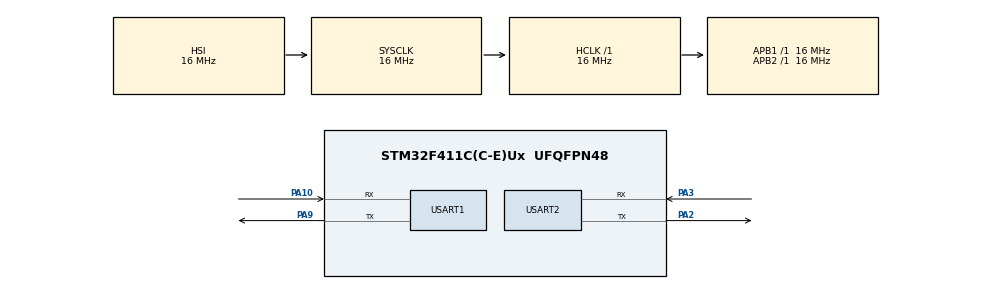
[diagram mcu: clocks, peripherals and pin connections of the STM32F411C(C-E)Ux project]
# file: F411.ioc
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Mcu.Family=STM32F4
Mcu.Name=STM32F411C(C-E)Ux
Mcu.Package=UFQFPN48
NVIC.PriorityGroup=NVIC_PRIORITYGROUP_4
NVIC.USART1_IRQn=true\:0\:0\:false\:false\:true\:true\:true\:true
NVIC.USART2_IRQn=true\:0\:0\:false\:false\:true\:true\:true\:true
PA10.Mode=Asynchronous
PA10.Signal=USART1_RX
PA13.Mode=Serial_Wire
PA13.Signal=SYS_JTMS-SWDIO
PA14.Mode=Serial_Wire
PA14.Signal=SYS_JTCK-SWCLK
PA2.Mode=Asynchronous
PA2.Signal=USART2_TX
PA3.Mode=Asynchronous
PA3.Signal=USART2_RX
PA9.Mode=Asynchronous
PA9.Signal=USART1_TX
ProjectManager.HeapSize=0x200
ProjectManager.StackSize=0x400
ProjectManager.TargetToolchain=STM32CubeIDE
RCC.AHBFreq_Value=16000000
RCC.APB1Freq_Value=16000000
RCC.APB2Freq_Value=16000000
RCC.CortexFreq_Value=16000000
RCC.HSE_VALUE=25000000
RCC.HSI_VALUE=16000000
RCC.LSE_VALUE=32768
RCC.SYSCLKFreq_VALUE=16000000
RCC.VCOOutputFreq_Value=192000000
USART1.VirtualMode=VM_ASYNC
USART2.VirtualMode=VM_ASYNC
board=custom

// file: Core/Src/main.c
/* USER CODE BEGIN Header */
/**
 ******************************************************************************
 * @file           : main.c
 * @brief          : Main program body
 ******************************************************************************
 * @attention
 *
 * Copyright (c) 2023 STMicroelectronics.
 * All rights reserved.
 *
 * This software is licensed under terms that can be found in the LICENSE file
 * in the root directory of this software component.
 * If no LICENSE file comes with this software, it is provided AS-IS.
 *
 ******************************************************************************
 */
/* USER CODE END Header */
#include "main.h"

/* USER CODE BEGIN Includes */
#include "FLASH_SECTOR_F4.h"
#include "ESP8266_HAL.h"
#include "UartRingbuffer_multi.h"
#include "parse.h"
#include <string.h>
#include <stdio.h>
#include <boot.h>
#include <stdlib.h>
/* USER CODE END Includes */

/* USER CODE BEGIN PTD */
typedef enum {
	START_CODE = 0,
	BYTE_COUNT = 1,
	ADDRESS = 2,
	RECORD_TYPE = 3,
	DATA = 4,
	CHECKSUM = 5,
	DONE = 6
} FieldHexFile;

typedef enum {
	READ_SUCCESFULLY = 0, READ_FAILED = 1
} StatusReadHexFile;

typedef struct {
	uint8_t u8ByteCount;
	uint8_t u8Addr[4];
	uint8_t u8RecordType[2];
	uint8_t u8Data[32];
	uint8_t u8Checksum[2];
} HexFormData;

HexFormData hexStruct;
/* USER CODE END PTD */

/* USER CODE BEGIN PD */
#define SSID "Nguyen"
#define PASSWORD "0935935516"
#define pc_uart &huart2
#define wifi_uart &huart1
//
#define SECTOR_0 0x08000000
#define SECTOR_1 0x08004000
#define SECTOR_2 0x08008000
#define SECTOR_3 0x0800C000
#define SECTOR_4 0x08010000
#define SECTOR_5 0x08020000
#define SECTOR_6 0x08040000
#define SECTOR_7 0x08060000

/* USER CODE END PD */

UART_HandleTypeDef huart1;
UART_HandleTypeDef huart2;

/* USER CODE BEGIN PV */

uint16_t line = 0;
uint8_t CinternalBuff[50];
uint8_t recv_buf[30000] = { 0 };
uint8_t firmware_buf[65];
uint8_t lat_ver[128] = { 0 };
int lat_ver0;
int lat_ver2;
uint8_t version_buf[30] = { 0 };
int CountFirmwareSlot = 1;
int TriggerBase = 1;
int BL_Version[2] = { 0, 0 }; //MAJOR and MINOR 0.0
uint32_t current_sector;
uint32_t *FirmwareSlot = (uint32_t*) 0x0800C000;
uint32_t *FWSelect = (uint32_t*) 0x08010000;
int VarCountCompare = 0;
uint32_t *BLversion0 = (uint32_t*) 0x08008000;
uint32_t *BLversion1 = (uint32_t*) 0x08008010;
uint8_t tempfordata[32];
uint8_t ToggleForErrorString = 0;
int nonZeroCount;
/* USER CODE END PV */

void SystemClock_Config(void);
static void MX_GPIO_Init(void);
static void MX_USART1_UART_Init(void);
static void MX_USART2_UART_Init(void);
/* USER CODE BEGIN PFP */
int countCharacters(uint32_t *str) {
	int count = 0;
	while (str[count] != '\0') {
		count++;
	}
	return count;
}
void removeAndShift(char *str, char *substr) {
	char *found = strstr(str, substr);
	if (found == NULL) {
		return;
	}

	// Calculate the length of the substring
	size_t subLen = strlen(substr);

	// Remove the substring by shifting the rest of the string
	memmove(found, found + subLen, strlen(found + subLen) + 1);

	// Remove any trailing spaces or characters after the substring
	size_t startIndex = found - str + subLen;
	while (str[startIndex] == ' ' || str[startIndex] == '\0') {
		memmove(str + startIndex, str + startIndex + 1,
				strlen(str + startIndex));
	}
}

uint32_t convert_uint8_to_int(uint8_t *data) {
	char str[9] = { '\0' };
	if (data[0] == '0' && (data[1] == 'x' || data[1] == 'X')) {
		data += 2;
	}
	for (int i = 0; i < 8; i++) {
		str[i] = data[i];
	}
	uint32_t result = strtoul(str, NULL, 16);
	return result;
}
int hexCharToInt(char hexChar) {
	int result;
	if (hexChar >= '0' && hexChar <= '9') {
		result = hexChar - '0';
	} else if (hexChar >= 'A' && hexChar <= 'F') {
		result = hexChar - 'A' + 10;
	} else if (hexChar >= 'a' && hexChar <= 'f') {
		result = hexChar - 'a' + 10;
	} else {
		result = -1;
	}
	return result;
}
int hexPairToInt(char hex1, char hex2) {
	int result1, result2;
	// Chuyển đổi ký tự hex1 thành giá trị int
	if (hex1 >= '0' && hex1 <= '9') {
		result1 = hex1 - '0';
	} else if (hex1 >= 'A' && hex1 <= 'F') {
		result1 = hex1 - 'A' + 10;
	} else if (hex1 >= 'a' && hex1 <= 'f') {
		result1 = hex1 - 'a' + 10;
	} else {
		// Xử lý ký tự không hợp lệ
		return -1;
	}
	// Chuyển đổi ký tự hex2 thành giá trị int
	if (hex2 >= '0' && hex2 <= '9') {
		result2 = hex2 - '0';
	} else if (hex2 >= 'A' && hex2 <= 'F') {
		result2 = hex2 - 'A' + 10;
	} else if (hex2 >= 'a' && hex2 <= 'f') {
		result2 = hex2 - 'a' + 10;
	} else {
		return -1;
	}
	return result1 * 16 + result2;
}
void print_pc(const char *str) {
	Uart_sendstring(str, &huart2);
}
void print_pc_version() {
	sprintf(version_buf, "%d.%d\n", BL_Version[0], BL_Version[1]);
	print_pc(version_buf);
}
int count_string(char *string, char search) {
	int count = 0;
	while (*string != search) {
		count++;
		string++;
	}
	return count;
}
int count_string2(char *string, char search) {
	static int countForChar2 = 0;
	while (*string != search) {
		countForChar2++;
		string++;
	}
	countForChar2++;
	return countForChar2;
}
int count_string3(char *string, char search) {
	static int countForChar3 = 0;
	while (*string != search) {
		AGAIN: countForChar3++;
		string++;
	}
	if (*(string + 1) == '+') {
		ToggleForErrorString = 1;
		goto AGAIN;
	}
	countForChar3++;
	return countForChar3;
}
int count_where_error(char *string) {
	int countPositionOfError = 0;
	while (*string != '+') {
		countPositionOfError++;
		string++;
	}
	countPositionOfError++;
	return countPositionOfError;
}
int count_string4(char *string, char search) {
	int countForChar4 = 0;
	while (*string != search) {
		AGAIN: countForChar4++;
		string++;
	}
	if (*(string + 1) == '+') {
		ToggleForErrorString = 1;
		goto AGAIN;
	}
	countForChar4++;
	return countForChar4;
}
StatusReadHexFile ReadAllLine(char *pBufferData) {
	uint8_t u16CaculChecksum;
	FieldHexFile State;
	int u32Count = 0u;
	int u32DataCount = 0u;
	int addressInt1 = 0;
	int addressInt2 = 0;
	int test1 = 0;
	int test2 = 0;
	uint16_t test3 = 0;
	for (u32DataCount = 0; u32DataCount < strlen(hexStruct.u8Data);
			u32DataCount++) {
		hexStruct.u8Data[u32DataCount] = '\0';
	}
	State = START_CODE;
	for (u32Count = 0; u32Count < strlen(pBufferData); u32Count++) {
		switch (State) {
		case START_CODE: {
			if (pBufferData[u32Count] != ':') {
				return READ_FAILED;
			} else {
				State = BYTE_COUNT;
			}
			break;
		}
		case BYTE_COUNT: {
			test1 = hexPairToInt(pBufferData[1], pBufferData[2]);
			hexStruct.u8ByteCount = test1;
			u32Count = 2u;
			State = ADDRESS;
			break;
		}
		case ADDRESS: {
			hexStruct.u8Addr[0] = pBufferData[3];
			hexStruct.u8Addr[1] = pBufferData[4];
			hexStruct.u8Addr[2] = pBufferData[5];
			hexStruct.u8Addr[3] = pBufferData[6];
			addressInt1 = hexPairToInt(hexStruct.u8Addr[0],
					hexStruct.u8Addr[1]);
			addressInt2 = hexPairToInt(hexStruct.u8Addr[2],
					hexStruct.u8Addr[3]);
			u32Count = 6u;
			State = RECORD_TYPE;
			break;
		}
		case RECORD_TYPE: {
			hexStruct.u8RecordType[0] = pBufferData[7];
			hexStruct.u8RecordType[1] = pBufferData[8];
			test2 = hexPairToInt(hexStruct.u8RecordType[0],
					hexStruct.u8RecordType[1]);
			if (test2 == 1) {
				return READ_FAILED;
			}
			u32Count = 8u;
			State = DATA;
			break;
		}
		case DATA: {
			for (int i = 9; i < (hexStruct.u8ByteCount) * 2 + 9; i++) {
				hexStruct.u8Data[i - 9] = pBufferData[i];
				if (test2 == 0) {
				}
			}
			u32Count = 8u + (hexStruct.u8ByteCount) * 2;
			State = CHECKSUM;
			break;
		}
		case CHECKSUM: {
			hexStruct.u8Checksum[0] =
					pBufferData[9 + hexStruct.u8ByteCount * 2];
			hexStruct.u8Checksum[1] =
					pBufferData[10 + hexStruct.u8ByteCount * 2];
			test3 = hexPairToInt(hexStruct.u8Checksum[0],
					hexStruct.u8Checksum[1]);
			State = DONE;
			break;
		}
		case DONE: {   //printf ("byte count : %d\n", test1);
					   //printf ("address:%02d-%02d\n ", addressInt1, addressInt2);
					   //printf ("record type : %d", test2);
			u16CaculChecksum = test1 + addressInt1 + addressInt2 + test2;
			for (u32DataCount = 0; u32DataCount < hexStruct.u8ByteCount * 2;
					u32DataCount += 2) {
				u16CaculChecksum = u16CaculChecksum
						+ hexPairToInt(hexStruct.u8Data[u32DataCount],
								hexStruct.u8Data[u32DataCount + 1]);
			}
			u16CaculChecksum = ~u16CaculChecksum + 1;
			if (u16CaculChecksum == test3) {
				return READ_SUCCESFULLY;
			} else {
				return READ_FAILED;
			}
			break;
		}
		default: {
			return READ_FAILED;
			break;
		}
		}
	}
	return READ_SUCCESFULLY;
}
void CopyandFlash(char *arrayCopy, char *arrayTransfered, uint32_t address) {
	int test3 = 0;
	int test4 = 0;
	int i = 0;
	int indexTest = 0;
	int indexNumber = 0;
	int toggle = 0;
	int indexOld = count_string2(arrayCopy + indexTest, '\n');
	uint32_t addRess = address;
	Flash_Erase(addRess);
	while (1) {
		if (test4 == 1) {
			indexNumber = indexNumber - test3;
			line--;
			test4 = 0;
		}
		indexNumber = count_string3(arrayCopy + indexTest, '\n');
		if (toggle == 0) {
			toggle++;
		} else {
			indexOld = indexNumber - indexTest;
		}
		for (int j = 0; j < indexOld; j++) {
			arrayTransfered[j] = arrayCopy[i++];
		}
		indexTest = indexNumber;
		test3 = 0;
		line++;

		if (ToggleForErrorString == 1) {
			char errorBuff[30] = { 0 };
			int test = 0;
			int test1 = 0;
			for (test = count_where_error(arrayTransfered) - 3;
					test < count_string4(arrayTransfered, '\n'); test++) {
				errorBuff[test1] = arrayTransfered[test];
				if (errorBuff[test1] == ':') { // 58 equal :
					ToggleForErrorString = 0;
					test3 = test1;
					removeAndShift(arrayTransfered, errorBuff);
					test4 = 1;
					goto BEGIN;
				}
				test1++;
			}

			//xuliloi
		}
		BEGIN: if (ReadAllLine(arrayTransfered) != READ_SUCCESFULLY) {
			break;
		} else {
			tempfordata[0] = hexStruct.u8Data[6];
			tempfordata[1] = hexStruct.u8Data[7];
			tempfordata[2] = hexStruct.u8Data[4];
			tempfordata[3] = hexStruct.u8Data[5];
			tempfordata[4] = hexStruct.u8Data[2];
			tempfordata[5] = hexStruct.u8Data[3];
			tempfordata[6] = hexStruct.u8Data[0];
			tempfordata[7] = hexStruct.u8Data[1];
			tempfordata[8] = hexStruct.u8Data[14];
			tempfordata[9] = hexStruct.u8Data[15];
			tempfordata[10] = hexStruct.u8Data[12];
			tempfordata[11] = hexStruct.u8Data[13];
			tempfordata[12] = hexStruct.u8Data[10];
			tempfordata[13] = hexStruct.u8Data[11];
			tempfordata[14] = hexStruct.u8Data[8];
			tempfordata[15] = hexStruct.u8Data[9];
			tempfordata[16] = hexStruct.u8Data[22];
			tempfordata[17] = hexStruct.u8Data[23];
			tempfordata[18] = hexStruct.u8Data[20];
			tempfordata[19] = hexStruct.u8Data[21];
			tempfordata[20] = hexStruct.u8Data[18];
			tempfordata[21] = hexStruct.u8Data[19];
			tempfordata[22] = hexStruct.u8Data[16];
			tempfordata[23] = hexStruct.u8Data[17];
			tempfordata[24] = hexStruct.u8Data[30];
			tempfordata[25] = hexStruct.u8Data[31];
			tempfordata[26] = hexStruct.u8Data[28];
			tempfordata[27] = hexStruct.u8Data[29];
			tempfordata[28] = hexStruct.u8Data[26];
			tempfordata[29] = hexStruct.u8Data[27];
			tempfordata[30] = hexStruct.u8Data[24];
			tempfordata[31] = hexStruct.u8Data[25];
			uint16_t test2 = hexPairToInt(hexStruct.u8RecordType[0],
					hexStruct.u8RecordType[1]);
			if (test2 != 0) {

			} else {
				if (hexStruct.u8ByteCount == 0x10) {
					for (int i = 0; i < 32; i = i + 8) {
						uint32_t result = convert_uint8_to_int(tempfordata + i);
						Flash_Write_Data_Int(addRess, result);
						addRess += 4;
					}
				} else if (hexStruct.u8ByteCount == 0x8) {
					for (int i = 0; i < 16; i = i + 8) {
						uint32_t result = convert_uint8_to_int(tempfordata + i);
						Flash_Write_Data_Int(addRess, result);
						addRess += 4;
					}
				} else if (hexStruct.u8ByteCount == 0xC) {
					for (int i = 0; i < 24; i = i + 8) {
						uint32_t result = convert_uint8_to_int(tempfordata + i);
						Flash_Write_Data_Int(addRess, result);
						addRess += 4;
					}

				} else if (hexStruct.u8ByteCount == 0x4) {
					for (int i = 0; i < 8; i = i + 8) {
						uint32_t result = convert_uint8_to_int(tempfordata + i);
						Flash_Write_Data_Int(addRess, result);
						addRess += 4;
					}
				}
			}
		}

		memset(arrayTransfered, '\0', strlen(arrayTransfered));
	}
}
void parse_character_strings() {
	int number_of_major = count_string(recv_buf, '.');
	int number_of_minor = count_string(&recv_buf[number_of_major + 1], 'C');
	char temp1[10];
	for (int i = 0; i < number_of_major; i++) {
		temp1[i] = recv_buf[i];
	}
	temp1[number_of_major] = '\0';
	char temp2[10];
	for (int i = 0; i < number_of_minor; i++) {
		temp2[i] = recv_buf[i + number_of_major + 1];
	}
	temp2[number_of_minor] = '\0';
	lat_ver0 = atoi(temp1);
	lat_ver2 = atoi(temp2);
}
void compare_version() {
	if (read_data(0x08008000) > 100 && read_data(0x08008010) > 100) {
		Flash_Erase(SECTOR_2);
		Flash_Write_Data_Int(0x08008000, 0);
		Flash_Write_Data_Int(0x08008010, 0);
	}
	BL_Version[0] = read_data(0x08008000);
	BL_Version[1] = read_data(0x08008010);
	parse_character_strings();
	if (lat_ver0 > BL_Version[0]) {
		BL_Version[0] = lat_ver0;
		Flash_Erase(SECTOR_2);
		Flash_Write_Data_Int(0x08008010, BL_Version[1]);
		Flash_Write_Data_Int(0x08008000, BL_Version[0]);
		VarCountCompare++;
	}
	if (lat_ver2 > BL_Version[1]) {
		BL_Version[1] = lat_ver2;
		Flash_Erase(SECTOR_2);
		Flash_Write_Data_Int(0x08008000, BL_Version[0]);
		Flash_Write_Data_Int(0x08008010, BL_Version[1]);
		VarCountCompare++;
	}
	if (VarCountCompare > 0) {
		HAL_Delay(1000);
		print_pc("Got higher version\n");
		print_pc("Version:");
		print_pc_version();
		CountFirmwareSlot++;
	}
	if (VarCountCompare == 0) {
		HAL_Delay(1000);
		print_pc("Version on the server is not higher\n");
		print_pc("Returning to application program...");
		TriggerBase++;
	}
}
//
void ESP_Get_Firmware(uint8_t *buffer) {
	char local_buf[200] = { 0 };
	char local_buf2[30] = { 0 };
	Uart_flush(wifi_uart);
	Uart_sendstring(
			"AT+CIPSTART=\"TCP\",\"nguyenwebstm32.000webhostapp.com\",80\r\n",
			wifi_uart);
	while (!(Wait_for("OK\r\n", wifi_uart)))
		;
	bufclr(local_buf); // Make sure it cleared
	sprintf(local_buf, "GET /uploads/1.0.hex HTTP/1.1\r\n"
			"Host: nguyenwebstm32.000webhostapp.com\r\n"
			"Connection: close\r\n\r\n");
	int len = strlen(local_buf);
	bufclr(local_buf2);
	sprintf(local_buf2, "AT+CIPSEND=%d\r\n", len);
	Uart_sendstring(local_buf2, wifi_uart);
	while (!(Wait_for(">", wifi_uart)))
		;
	Uart_sendstring(local_buf, wifi_uart);
	while (!(Wait_for("SEND OK\r\n", wifi_uart))) {
	}
	while (!(Wait_for("\r\n\r\n", wifi_uart))) {
	}
	while (!(Copy_upto_closed("CLOSED\r\n", buffer, wifi_uart))) {
	}
}

/* USER CODE END PFP */

int main(void) {

	/* MCU Configuration--------------------------------------------------------*/

	/* Reset of all peripherals, Initializes the Flash interface and the Systick. */
	HAL_Init();

	/* Configure the system clock */
	SystemClock_Config();

	/* Initialize all configured peripherals */
	MX_GPIO_Init();
	MX_USART1_UART_Init();
	MX_USART2_UART_Init();
	/* USER CODE BEGIN 2 */
	Ringbuf_init();
	print_pc("\r\nBootloader initiated\r\n");
	ESP_Init(SSID, PASSWORD);
	print_pc("Connected to wifi\r\n");
	//get version
	memset(recv_buf, 0, sizeof(recv_buf));
	ESP_Get_Latest_Version((uint8_t*) recv_buf);
	print_pc("Got latest file name\r\n");
	compare_version();
	memset(recv_buf, 0, sizeof(recv_buf));
	//uint32_t *FirmwareSlot = (uint32_t*) 0x0800C000;
	//uint32_t *FWSelect = (uint32_t*) 0x08010000;

	if (read_data(0x0800C000) == 0xFFFFFFFF) {
		Flash_Write_Data_Int(0x0800C000, 0x00000001);
	}
	if (CountFirmwareSlot == 2) {
		CountFirmwareSlot = 1;
		uint32_t check = read_data(0x0800C000) + 1;
		Flash_Erase(SECTOR_3);
		Flash_Write_Data_Int(0x0800C000, check);
	}
	if (read_data(0x0800C000) % 2 == 0) {
		Flash_Erase(SECTOR_4);
		Flash_Write_Data_Int(0x08010000, 0x00000002);
	} else if (read_data(0x0800C000) % 2 != 0) {
		Flash_Erase(SECTOR_4);
		Flash_Write_Data_Int(0x08010000, 0x00000001);
	}
	if (TriggerBase == 2) {
		Flash_Erase(SECTOR_4);
		Flash_Write_Data_Int(0x08010000, 0x00000000);
	}
	if (*FWSelect == 0x00000001) {
		current_sector = SECTOR_5; // app1
	}
	if (*FWSelect == 0x00000002) {
		current_sector = SECTOR_6; // ap2
	}
	if (*FWSelect == 0x00000000) {
		current_sector = SECTOR_7; // current
	}

	HAL_Delay(1000);
	memset(recv_buf, 0, sizeof(recv_buf));

	if (current_sector == SECTOR_6 || current_sector == SECTOR_5){
		ESP_Get_Firmware((uint8_t*) recv_buf);
			print_pc("Downloaded firmware file\r\n");
	CopyandFlash(recv_buf, firmware_buf, current_sector);
	}
	jump_to_app(current_sector);
	/* USER CODE END 2 */

	/* Infinite loop */
	while (1) {

	}
}

void SystemClock_Config(void) {
	RCC_OscInitTypeDef RCC_OscInitStruct = { 0 };
	RCC_ClkInitTypeDef RCC_ClkInitStruct = { 0 };

	/** Configure the main internal regulator output voltage
	 */
	__HAL_RCC_PWR_CLK_ENABLE();
	__HAL_PWR_VOLTAGESCALING_CONFIG(PWR_REGULATOR_VOLTAGE_SCALE1);

	/** Initializes the RCC Oscillators according to the specified parameters
	 * in the RCC_OscInitTypeDef structure.
	 */
	RCC_OscInitStruct.OscillatorType = RCC_OSCILLATORTYPE_HSI;
	RCC_OscInitStruct.HSIState = RCC_HSI_ON;
	RCC_OscInitStruct.HSICalibrationValue = RCC_HSICALIBRATION_DEFAULT;
	RCC_OscInitStruct.PLL.PLLState = RCC_PLL_NONE;
	if (HAL_RCC_OscConfig(&RCC_OscInitStruct) != HAL_OK) {
		Error_Handler();
	}

	/** Initializes the CPU, AHB and APB buses clocks
	 */
	RCC_ClkInitStruct.ClockType = RCC_CLOCKTYPE_HCLK | RCC_CLOCKTYPE_SYSCLK
			| RCC_CLOCKTYPE_PCLK1 | RCC_CLOCKTYPE_PCLK2;
	RCC_ClkInitStruct.SYSCLKSource = RCC_SYSCLKSOURCE_HSI;
	RCC_ClkInitStruct.AHBCLKDivider = RCC_SYSCLK_DIV1;
	RCC_ClkInitStruct.APB1CLKDivider = RCC_HCLK_DIV1;
	RCC_ClkInitStruct.APB2CLKDivider = RCC_HCLK_DIV1;

	if (HAL_RCC_ClockConfig(&RCC_ClkInitStruct, FLASH_LATENCY_0) != HAL_OK) {
		Error_Handler();
	}
}

static void MX_USART1_UART_Init(void) {

	huart1.Instance = USART1;
	huart1.Init.BaudRate = 115200;
	huart1.Init.WordLength = UART_WORDLENGTH_8B;
	huart1.Init.StopBits = UART_STOPBITS_1;
	huart1.Init.Parity = UART_PARITY_NONE;
	huart1.Init.Mode = UART_MODE_TX_RX;
	huart1.Init.HwFlowCtl = UART_HWCONTROL_NONE;
	huart1.Init.OverSampling = UART_OVERSAMPLING_16;
	if (HAL_UART_Init(&huart1) != HAL_OK) {
		Error_Handler();
	}

}

static void MX_USART2_UART_Init(void) {

	huart2.Instance = USART2;
	huart2.Init.BaudRate = 115200;
	huart2.Init.WordLength = UART_WORDLENGTH_8B;
	huart2.Init.StopBits = UART_STOPBITS_1;
	huart2.Init.Parity = UART_PARITY_NONE;
	huart2.Init.Mode = UART_MODE_TX_RX;
	huart2.Init.HwFlowCtl = UART_HWCONTROL_NONE;
	huart2.Init.OverSampling = UART_OVERSAMPLING_16;
	if (HAL_UART_Init(&huart2) != HAL_OK) {
		Error_Handler();
	}

}

static void MX_GPIO_Init(void) {

	/* GPIO Ports Clock Enable */
	__HAL_RCC_GPIOA_CLK_ENABLE();

}

void Error_Handler(void) {
	__disable_irq();
	while (1) {
	}
}
